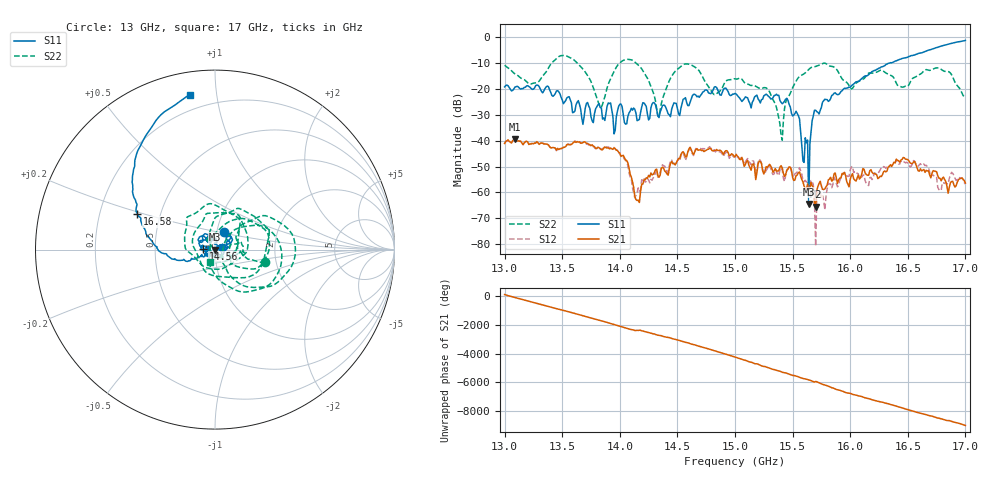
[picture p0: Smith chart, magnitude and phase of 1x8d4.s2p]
!Keysight Technologies,P9374A,MY57211807,A.19.30.04
!Date: Friday, May 08, 2026 15:17:33
!Correction: S11(C  2-Port  )
!S21(C  2-Port  )
!S12(C  2-Port  )
!S22(C  2-Port  )
!S2P File: Measurements: S11, S21, S12, S22:
# Hz S  dB  R 50
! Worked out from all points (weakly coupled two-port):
!   401 points, 13 GHz to 17 GHz, reference 50 ohm
!   highest |S21| = -39.52 dB at 13.09 GHz (marker M1); lowest = -65.6 dB at 15.7 GHz (marker M2)
!   lowest |S11| = -64.6 dB at 15.64 GHz (marker M3), VSWR 1.00, Z = 50.1 + j0.0283 ohm
!   |S11| at or under -10 dB: start of sweep to 16.33 GHz
!   |S22| runs from -39.8 to -7.0 dB; largest |S21 - S12| = 0.0012
!   S11 on the Smith chart (normalised r, x): 13 GHz: 1.08, +0.22; 14.56 GHz: 0.88, +0.01; 16.58 GHz: 0.37, +0.19; 17 GHz: 0.11, +0.85
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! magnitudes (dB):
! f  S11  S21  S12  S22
! 13 GHz  -19.2  -41.1  -41.1  -10.8
! 13.09 GHz  -19.2  -39.5  -39.6  -14.1
! 13.67 GHz  -31.2  -40.9  -40.9  -11.8
! 13.84 GHz  -27.3  -43.5  -43.3  -27.0
! 14.04 GHz  -32.9  -46.6  -47.2  -8.7
! 14.11 GHz  -28.2  -55.9  -58.3  -8.8
! 14.15 GHz  -32.2  -63.2  -60.2  -10.3
! 14.34 GHz  -31.0  -54.2  -54.2  -30.7
! 14.56 GHz  -23.8  -44.9  -46.0  -10.3
! 14.82 GHz  -19.2  -43.7  -43.6  -22.2
! 15 GHz  -21.7  -46.3  -46.2  -16.0
! 15.28 GHz  -22.3  -50.5  -50.9  -19.9
! 15.4 GHz  -25.1  -49.7  -50.3  -37.9
! 15.54 GHz  -29.5  -53.3  -52.1  -16.2
! 15.64 GHz  -64.6  -59.6  -57.8  -12.4
! 15.67 GHz  -32.2  -57.5  -55.7  -11.5
! 15.7 GHz  -28.2  -65.6  -80.9  -11.2
! 16.01 GHz  -18.8  -53.6  -50.2  -19.9
! 16.34 GHz  -10.0  -49.9  -49.9  -14.4
! 16.58 GHz  -6.4  -50.5  -49.7  -14.9
! 16.85 GHz  -2.6  -60.3  -56.8  -13.2
! 17 GHz  -1.2  -56.4  -56.8  -22.2
